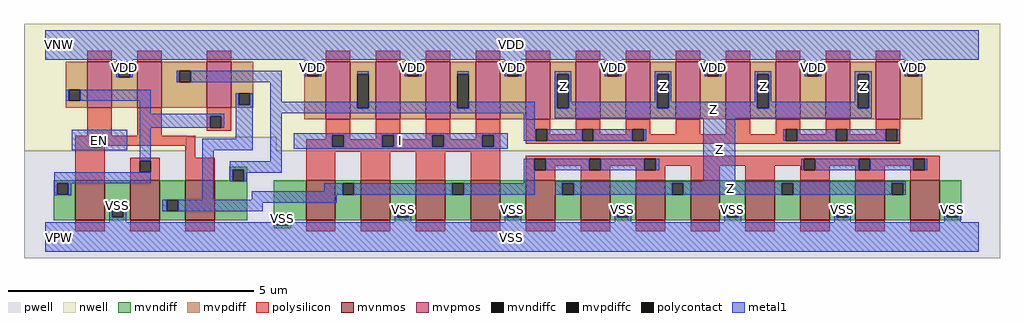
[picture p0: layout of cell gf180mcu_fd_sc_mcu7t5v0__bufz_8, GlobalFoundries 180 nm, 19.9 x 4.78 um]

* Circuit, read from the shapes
.subckt gf180mcu_fd_sc_mcu7t5v0__bufz_8 EN I Z VDD VNW VPW VSS
XM1 VSS EN n1 VPW nfet_06v0 w=0.82u l=0.6u
XM2 n2 n1 VSS VPW nfet_06v0 w=0.82u l=0.6u
XM3 n3 EN n2 VPW nfet_06v0 w=0.82u l=0.6u
XM4 n2 I VSS VPW nfet_06v0 w=0.82u l=0.6u m=4
XM5 Z n2 VSS VPW nfet_06v0 w=0.82u l=0.6u m=8
XM6 VDD EN n1 VNW pfet_06v0 w=0.945u l=0.5u
XM7 n3 EN VDD VNW pfet_06v0 w=0.945u l=0.5u
XM8 n2 n1 n3 VNW pfet_06v0 w=0.945u l=0.5u
XM9 n3 I VDD VNW pfet_06v0 w=1.175u l=0.5u m=4
XM10 Z n3 VDD VNW pfet_06v0 w=1.175u l=0.5u m=8
.ends

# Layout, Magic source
magic
tech gf180mcuD
magscale 1 10
<< nwell >>
rect -86 407 3894 870
rect -86 352 575 407
rect 943 352 3894 407
<< pwell >>
rect 575 352 943 407
rect -86 -86 3894 352
<< mvnmos >>
rect 124 68 244 232
rect 348 68 468 232
rect 572 68 692 232
rect 1064 68 1184 232
rect 1288 68 1408 232
rect 1512 68 1632 232
rect 1736 68 1856 232
rect 1960 68 2080 232
rect 2184 68 2304 232
rect 2408 68 2528 232
rect 2632 68 2752 232
rect 2856 68 2976 232
rect 3080 68 3200 232
rect 3304 68 3424 232
rect 3528 68 3648 232
<< mvpmos >>
rect 172 527 272 716
rect 376 527 476 716
rect 660 527 760 716
rect 1144 481 1244 716
rect 1348 481 1448 716
rect 1552 481 1652 716
rect 1756 481 1856 716
rect 1960 481 2060 716
rect 2164 481 2264 716
rect 2368 481 2468 716
rect 2572 481 2672 716
rect 2776 481 2876 716
rect 2980 481 3080 716
rect 3184 481 3284 716
rect 3388 481 3488 716
<< mvndiff >>
rect 752 274 824 287
rect 752 232 765 274
rect 36 219 124 232
rect 36 173 49 219
rect 95 173 124 219
rect 36 68 124 173
rect 244 128 348 232
rect 244 82 273 128
rect 319 82 348 128
rect 244 68 348 82
rect 468 152 572 232
rect 468 106 497 152
rect 543 106 572 152
rect 468 68 572 106
rect 692 228 765 232
rect 811 228 824 274
rect 692 68 824 228
rect 932 95 1064 232
rect 932 49 945 95
rect 991 68 1064 95
rect 1184 219 1288 232
rect 1184 173 1213 219
rect 1259 173 1288 219
rect 1184 68 1288 173
rect 1408 127 1512 232
rect 1408 81 1437 127
rect 1483 81 1512 127
rect 1408 68 1512 81
rect 1632 219 1736 232
rect 1632 173 1661 219
rect 1707 173 1736 219
rect 1632 68 1736 173
rect 1856 127 1960 232
rect 1856 81 1885 127
rect 1931 81 1960 127
rect 1856 68 1960 81
rect 2080 219 2184 232
rect 2080 173 2109 219
rect 2155 173 2184 219
rect 2080 68 2184 173
rect 2304 127 2408 232
rect 2304 81 2333 127
rect 2379 81 2408 127
rect 2304 68 2408 81
rect 2528 219 2632 232
rect 2528 173 2557 219
rect 2603 173 2632 219
rect 2528 68 2632 173
rect 2752 127 2856 232
rect 2752 81 2781 127
rect 2827 81 2856 127
rect 2752 68 2856 81
rect 2976 219 3080 232
rect 2976 173 3005 219
rect 3051 173 3080 219
rect 2976 68 3080 173
rect 3200 127 3304 232
rect 3200 81 3229 127
rect 3275 81 3304 127
rect 3200 68 3304 81
rect 3424 219 3528 232
rect 3424 173 3453 219
rect 3499 173 3528 219
rect 3424 68 3528 173
rect 3648 127 3736 232
rect 3648 81 3677 127
rect 3723 81 3736 127
rect 3648 68 3736 81
rect 991 49 1004 68
rect 932 36 1004 49
<< mvpdiff >>
rect 84 602 172 716
rect 84 556 97 602
rect 143 556 172 602
rect 84 527 172 556
rect 272 698 376 716
rect 272 652 301 698
rect 347 652 376 698
rect 272 527 376 652
rect 476 678 660 716
rect 476 632 547 678
rect 593 632 660 678
rect 476 527 660 632
rect 760 586 848 716
rect 760 540 789 586
rect 835 540 848 586
rect 760 527 848 540
rect 1056 703 1144 716
rect 1056 657 1069 703
rect 1115 657 1144 703
rect 1056 481 1144 657
rect 1244 665 1348 716
rect 1244 525 1273 665
rect 1319 525 1348 665
rect 1244 481 1348 525
rect 1448 703 1552 716
rect 1448 657 1477 703
rect 1523 657 1552 703
rect 1448 481 1552 657
rect 1652 665 1756 716
rect 1652 525 1681 665
rect 1727 525 1756 665
rect 1652 481 1756 525
rect 1856 703 1960 716
rect 1856 657 1885 703
rect 1931 657 1960 703
rect 1856 481 1960 657
rect 2060 665 2164 716
rect 2060 525 2089 665
rect 2135 525 2164 665
rect 2060 481 2164 525
rect 2264 703 2368 716
rect 2264 657 2293 703
rect 2339 657 2368 703
rect 2264 481 2368 657
rect 2468 665 2572 716
rect 2468 525 2497 665
rect 2543 525 2572 665
rect 2468 481 2572 525
rect 2672 703 2776 716
rect 2672 657 2701 703
rect 2747 657 2776 703
rect 2672 481 2776 657
rect 2876 665 2980 716
rect 2876 525 2905 665
rect 2951 525 2980 665
rect 2876 481 2980 525
rect 3080 703 3184 716
rect 3080 657 3109 703
rect 3155 657 3184 703
rect 3080 481 3184 657
rect 3284 665 3388 716
rect 3284 525 3313 665
rect 3359 525 3388 665
rect 3284 481 3388 525
rect 3488 703 3576 716
rect 3488 657 3517 703
rect 3563 657 3576 703
rect 3488 481 3576 657
<< mvndiffc >>
rect 49 173 95 219
rect 273 82 319 128
rect 497 106 543 152
rect 765 228 811 274
rect 945 49 991 95
rect 1213 173 1259 219
rect 1437 81 1483 127
rect 1661 173 1707 219
rect 1885 81 1931 127
rect 2109 173 2155 219
rect 2333 81 2379 127
rect 2557 173 2603 219
rect 2781 81 2827 127
rect 3005 173 3051 219
rect 3229 81 3275 127
rect 3453 173 3499 219
rect 3677 81 3723 127
<< mvpdiffc >>
rect 97 556 143 602
rect 301 652 347 698
rect 547 632 593 678
rect 789 540 835 586
rect 1069 657 1115 703
rect 1273 525 1319 665
rect 1477 657 1523 703
rect 1681 525 1727 665
rect 1885 657 1931 703
rect 2089 525 2135 665
rect 2293 657 2339 703
rect 2497 525 2543 665
rect 2701 657 2747 703
rect 2905 525 2951 665
rect 3109 657 3155 703
rect 3313 525 3359 665
rect 3517 657 3563 703
<< polysilicon >>
rect 172 716 272 760
rect 376 716 476 760
rect 660 716 760 760
rect 1144 716 1244 760
rect 1348 716 1448 760
rect 1552 716 1652 760
rect 1756 716 1856 760
rect 1960 716 2060 760
rect 2164 716 2264 760
rect 2368 716 2468 760
rect 2572 716 2672 760
rect 2776 716 2876 760
rect 2980 716 3080 760
rect 3184 716 3284 760
rect 3388 716 3488 760
rect 172 413 272 527
rect 376 413 476 527
rect 660 493 760 527
rect 660 447 673 493
rect 719 447 760 493
rect 660 434 760 447
rect 1144 415 1244 481
rect 124 412 612 413
rect 124 366 185 412
rect 231 373 612 412
rect 1144 399 1171 415
rect 231 366 244 373
rect 124 232 244 366
rect 572 324 612 373
rect 1064 369 1171 399
rect 1217 399 1244 415
rect 1348 415 1448 481
rect 1348 399 1375 415
rect 1217 369 1375 399
rect 1421 399 1448 415
rect 1552 415 1652 481
rect 1552 399 1579 415
rect 1421 369 1579 399
rect 1625 399 1652 415
rect 1756 415 1856 481
rect 1756 399 1783 415
rect 1625 369 1783 399
rect 1829 369 1856 415
rect 1960 439 2060 481
rect 1960 393 2001 439
rect 2047 420 2060 439
rect 2164 439 2264 481
rect 2164 420 2190 439
rect 2047 393 2190 420
rect 2236 420 2264 439
rect 2368 439 2468 481
rect 2368 420 2395 439
rect 2236 393 2395 420
rect 2441 420 2468 439
rect 2572 420 2672 481
rect 2776 420 2876 481
rect 2980 439 3080 481
rect 2980 420 3021 439
rect 2441 393 3021 420
rect 3067 420 3080 439
rect 3184 439 3284 481
rect 3184 420 3225 439
rect 3067 393 3225 420
rect 3271 420 3284 439
rect 3388 439 3488 481
rect 3388 420 3429 439
rect 3271 393 3429 420
rect 3475 393 3488 439
rect 1960 380 3488 393
rect 1064 349 1856 369
rect 348 311 468 324
rect 348 265 385 311
rect 431 265 468 311
rect 348 232 468 265
rect 572 232 692 324
rect 1064 232 1184 349
rect 1288 232 1408 349
rect 1512 232 1632 349
rect 1736 232 1856 349
rect 1960 319 3648 332
rect 1960 273 1995 319
rect 2041 292 2219 319
rect 2041 273 2080 292
rect 1960 232 2080 273
rect 2184 273 2219 292
rect 2265 292 2444 319
rect 2265 273 2304 292
rect 2184 232 2304 273
rect 2408 273 2444 292
rect 2490 292 3094 319
rect 2490 273 2528 292
rect 2408 232 2528 273
rect 2632 232 2752 292
rect 2856 232 2976 292
rect 3080 273 3094 292
rect 3140 292 3318 319
rect 3140 273 3200 292
rect 3080 232 3200 273
rect 3304 273 3318 292
rect 3364 292 3541 319
rect 3364 273 3424 292
rect 3304 232 3424 273
rect 3528 273 3541 292
rect 3587 273 3648 319
rect 3528 232 3648 273
rect 124 24 244 68
rect 348 24 468 68
rect 572 24 692 68
rect 1064 24 1184 68
rect 1288 24 1408 68
rect 1512 24 1632 68
rect 1736 24 1856 68
rect 1960 24 2080 68
rect 2184 24 2304 68
rect 2408 24 2528 68
rect 2632 24 2752 68
rect 2856 24 2976 68
rect 3080 24 3200 68
rect 3304 24 3424 68
rect 3528 24 3648 68
<< polycontact >>
rect 673 447 719 493
rect 185 366 231 412
rect 1171 369 1217 415
rect 1375 369 1421 415
rect 1579 369 1625 415
rect 1783 369 1829 415
rect 2001 393 2047 439
rect 2190 393 2236 439
rect 2395 393 2441 439
rect 3021 393 3067 439
rect 3225 393 3271 439
rect 3429 393 3475 439
rect 385 265 431 311
rect 1995 273 2041 319
rect 2219 273 2265 319
rect 2444 273 2490 319
rect 3094 273 3140 319
rect 3318 273 3364 319
rect 3541 273 3587 319
<< metal1 >>
rect 0 724 3808 844
rect 290 698 358 724
rect 290 652 301 698
rect 347 652 358 698
rect 1058 703 1126 724
rect 536 632 547 678
rect 593 632 965 678
rect 1058 657 1069 703
rect 1115 657 1126 703
rect 1466 703 1534 724
rect 1273 665 1319 676
rect 84 556 97 602
rect 143 556 431 602
rect 385 504 431 556
rect 778 540 789 586
rect 835 540 846 586
rect 385 493 730 504
rect 385 447 673 493
rect 719 447 730 493
rect 109 412 335 437
rect 109 366 185 412
rect 231 366 335 412
rect 109 355 335 366
rect 385 311 431 447
rect 778 401 846 540
rect 38 219 431 265
rect 641 355 846 401
rect 919 552 965 632
rect 919 525 1273 552
rect 1466 657 1477 703
rect 1523 657 1534 703
rect 1874 703 1942 724
rect 1681 665 1727 676
rect 1319 525 1681 552
rect 1874 657 1885 703
rect 1931 657 1942 703
rect 2282 703 2350 724
rect 2078 665 2146 676
rect 1727 525 1997 552
rect 919 506 1997 525
rect 38 173 49 219
rect 95 173 106 219
rect 38 170 106 173
rect 641 152 687 355
rect 919 309 965 506
rect 1951 439 1997 506
rect 2078 525 2089 665
rect 2135 553 2146 665
rect 2282 657 2293 703
rect 2339 657 2350 703
rect 2690 703 2758 724
rect 2486 665 2554 676
rect 2486 553 2497 665
rect 2135 525 2497 553
rect 2543 553 2554 665
rect 2690 657 2701 703
rect 2747 657 2758 703
rect 3098 703 3166 724
rect 2894 665 2962 676
rect 2894 553 2905 665
rect 2543 525 2905 553
rect 2951 553 2962 665
rect 3098 657 3109 703
rect 3155 657 3166 703
rect 3506 703 3574 724
rect 3302 665 3370 676
rect 3302 553 3313 665
rect 2951 525 3313 553
rect 3359 525 3370 665
rect 3506 657 3517 703
rect 3563 657 3574 703
rect 2078 485 3370 525
rect 1015 415 1886 424
rect 1015 369 1171 415
rect 1217 369 1375 415
rect 1421 369 1579 415
rect 1625 369 1783 415
rect 1829 369 1886 415
rect 1951 393 2001 439
rect 2047 393 2190 439
rect 2236 393 2395 439
rect 2441 393 2452 439
rect 1015 360 1886 369
rect 754 274 965 309
rect 754 228 765 274
rect 811 263 965 274
rect 1951 273 1995 319
rect 2041 273 2219 319
rect 2265 273 2444 319
rect 2490 273 2504 319
rect 811 228 822 263
rect 1951 219 1997 273
rect 2684 227 2814 485
rect 3010 393 3021 439
rect 3067 393 3225 439
rect 3271 393 3429 439
rect 3475 393 3486 439
rect 3083 273 3094 319
rect 3140 273 3318 319
rect 3364 273 3541 319
rect 3587 273 3598 319
rect 1139 187 1213 219
rect 843 173 1213 187
rect 1259 173 1661 219
rect 1707 173 1997 219
rect 2080 219 3510 227
rect 2080 173 2109 219
rect 2155 173 2557 219
rect 2603 173 3005 219
rect 3051 173 3453 219
rect 3499 173 3510 219
rect 843 152 1189 173
rect 262 128 330 131
rect 262 82 273 128
rect 319 82 330 128
rect 478 106 497 152
rect 543 141 1189 152
rect 543 106 888 141
rect 262 60 330 82
rect 934 60 945 95
rect 0 49 945 60
rect 991 60 1002 95
rect 1426 81 1437 127
rect 1483 81 1494 127
rect 1426 60 1494 81
rect 1874 81 1885 127
rect 1931 81 1942 127
rect 1874 60 1942 81
rect 2322 81 2333 127
rect 2379 81 2390 127
rect 2322 60 2390 81
rect 2770 81 2781 127
rect 2827 81 2838 127
rect 2770 60 2838 81
rect 3218 81 3229 127
rect 3275 81 3286 127
rect 3218 60 3286 81
rect 3666 81 3677 127
rect 3723 81 3734 127
rect 3666 60 3734 81
rect 991 49 3808 60
rect 0 -60 3808 49
<< labels >>
flabel metal1 s 3302 553 3370 676 0 FreeSans 400 0 0 0 Z
port 3 nsew default output
flabel metal1 s 109 355 335 437 0 FreeSans 600 0 0 0 EN
port 1 nsew default input
flabel metal1 s 1015 360 1886 424 0 FreeSans 400 0 0 0 I
port 2 nsew default input
flabel metal1 s 262 127 330 131 0 FreeSans 400 0 0 0 VSS
port 7 nsew ground bidirectional abutment
flabel metal1 s 0 724 3808 844 0 FreeSans 400 0 0 0 VDD
port 4 nsew power bidirectional abutment
flabel nwell s 10 734 110 834 0 FreeSans 400 0 0 0 VNW
port 5 nsew power bidirectional
flabel pwell s 10 -50 110 50 0 FreeSans 400 0 0 0 VPW
port 6 nsew ground bidirectional
rlabel metal1 s 2894 553 2962 676 1 Z
port 3 nsew default output
rlabel metal1 s 2486 553 2554 676 1 Z
port 3 nsew default output
rlabel metal1 s 2078 553 2146 676 1 Z
port 3 nsew default output
rlabel metal1 s 2078 485 3370 553 1 Z
port 3 nsew default output
rlabel metal1 s 2684 227 2814 485 1 Z
port 3 nsew default output
rlabel metal1 s 2080 173 3510 227 1 Z
port 3 nsew default output
rlabel metal1 s 3506 657 3574 724 1 VDD
port 4 nsew power bidirectional abutment
rlabel metal1 s 3098 657 3166 724 1 VDD
port 4 nsew power bidirectional abutment
rlabel metal1 s 2690 657 2758 724 1 VDD
port 4 nsew power bidirectional abutment
rlabel metal1 s 2282 657 2350 724 1 VDD
port 4 nsew power bidirectional abutment
rlabel metal1 s 1874 657 1942 724 1 VDD
port 4 nsew power bidirectional abutment
rlabel metal1 s 1466 657 1534 724 1 VDD
port 4 nsew power bidirectional abutment
rlabel metal1 s 1058 657 1126 724 1 VDD
port 4 nsew power bidirectional abutment
rlabel metal1 s 290 657 358 724 1 VDD
port 4 nsew power bidirectional abutment
rlabel metal1 s 290 652 358 657 1 VDD
port 4 nsew power bidirectional abutment
rlabel metal1 s 3666 95 3734 127 1 VSS
port 7 nsew ground bidirectional abutment
rlabel metal1 s 3218 95 3286 127 1 VSS
port 7 nsew ground bidirectional abutment
rlabel metal1 s 2770 95 2838 127 1 VSS
port 7 nsew ground bidirectional abutment
rlabel metal1 s 2322 95 2390 127 1 VSS
port 7 nsew ground bidirectional abutment
rlabel metal1 s 1874 95 1942 127 1 VSS
port 7 nsew ground bidirectional abutment
rlabel metal1 s 1426 95 1494 127 1 VSS
port 7 nsew ground bidirectional abutment
rlabel metal1 s 262 95 330 127 1 VSS
port 7 nsew ground bidirectional abutment
rlabel metal1 s 3666 60 3734 95 1 VSS
port 7 nsew ground bidirectional abutment
rlabel metal1 s 3218 60 3286 95 1 VSS
port 7 nsew ground bidirectional abutment
rlabel metal1 s 2770 60 2838 95 1 VSS
port 7 nsew ground bidirectional abutment
rlabel metal1 s 2322 60 2390 95 1 VSS
port 7 nsew ground bidirectional abutment
rlabel metal1 s 1874 60 1942 95 1 VSS
port 7 nsew ground bidirectional abutment
rlabel metal1 s 1426 60 1494 95 1 VSS
port 7 nsew ground bidirectional abutment
rlabel metal1 s 934 60 1002 95 1 VSS
port 7 nsew ground bidirectional abutment
rlabel metal1 s 262 60 330 95 1 VSS
port 7 nsew ground bidirectional abutment
rlabel metal1 s 0 -60 3808 60 1 VSS
port 7 nsew ground bidirectional abutment
<< properties >>
string FIXED_BBOX 0 0 3808 784
string GDS_END 1417210
string GDS_FILE $PDKPATH/libs.ref/gf180mcu_fd_sc_mcu7t5v0/gds/gf180mcu_fd_sc_mcu7t5v0.gds
string GDS_START 1408920
string LEFclass core
string LEFsite GF018hv5v_mcu_sc7
string LEFsymmetry X Y
<< end >>
